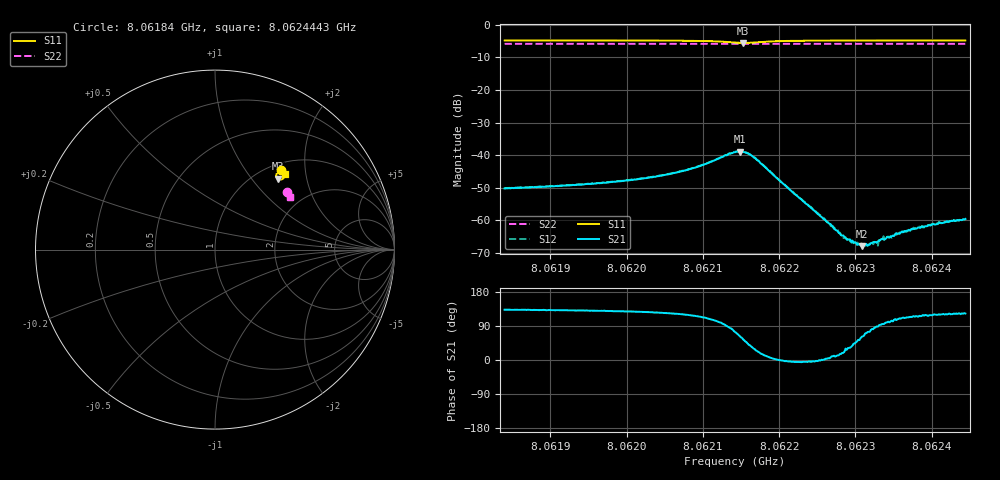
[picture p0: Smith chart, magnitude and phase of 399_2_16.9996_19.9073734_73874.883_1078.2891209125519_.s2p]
#  HZ  S  RI  R  50.00
! Rohde & Schwarz Vector Network Analyzer
! Rohde-Schwarz,ZNB20-2Port,1311601062101988,3.16
! Created: UTC 3/20/2024, 11:09:58 PM
! freq[Hz]  re:S11  im:S11  re:S21  im:S21  re:S12  im:S12  re:S22  im:S22
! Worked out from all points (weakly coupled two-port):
!   401 points, 8.06184 GHz to 8.0624443 GHz, reference 50 ohm
!   highest |S21| = -38.92 dB at 8.0621482 GHz (marker M1); lowest = -68.0 dB at 8.0623083 GHz (marker M2)
!   lowest |S11| = -5.6 dB at 8.0621527 GHz (marker M3), VSWR 3.23, Z = 62.4 + j68.3 ohm
!   |S11| at or under -10 dB: nowhere
!   |S22| runs from -5.9 to -5.8 dB; largest |S21 - S12| = 0.00085
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8.06183999e9  0.3668 0.4443  -0.00209 0.00226  -0.00198 0.0024  0.399 0.3211
8.06194121e9  0.3738 0.4379  -0.00229 0.00267  -0.00217 0.00282  0.4028 0.3161
8.0619956e9  0.378 0.4334  -0.00251 0.00314  -0.00232 0.00328  0.4048 0.3134
8.06204244e9  0.3821 0.4281  -0.00272 0.00391  -0.00251 0.00414  0.4065 0.3108
8.06209229e9  0.3865 0.4167  -0.00286 0.00595  -0.00251 0.00616  0.4084 0.308
8.06214215e9  0.3658 0.3901  0.00307 0.0106  0.0036 0.0107  0.4088 0.3047
8.06214819e9  0.3568 0.3911  0.00506 0.0101  0.00576 0.00993  0.4086 0.3046
8.06215272e9  0.3501 0.3945  0.00653 0.00923  0.00701 0.00893  0.4084 0.3045
8.06216179e9  0.342 0.4063  0.00801 0.00641  0.00835 0.00584  0.4085 0.3048
8.06216934e9  0.3415 0.4169  0.00796 0.00381  0.00829 0.0034  0.4089 0.3049
8.06224337e9  0.3718 0.4346  0.0015 -9.56e-05  0.00151 -0.000163  0.4129 0.3018
8.06228567e9  0.379 0.4319  0.000514 0.000207  0.000509 0.000147  0.4147 0.2994
8.06229776e9  0.3804 0.4309  0.000328 0.000308  0.000359 0.000286  0.4152 0.2989
8.06230833e9  0.3816 0.4302  0.000192 0.00035  0.000256 0.000355  0.4156 0.2983
8.06231438e9  0.3823 0.4299  0.000141 0.000409  0.000148 0.000385  0.4157 0.2981
8.06232646e9  0.3834 0.429  3.2e-05 0.000461  3.69e-05 0.000461  0.4161 0.2974
8.06233251e9  0.384 0.4287  -2.41e-05 0.000491  -9.04e-06 0.000479  0.4165 0.297
8.06233402e9  0.384 0.4285  -3.24e-05 0.000514  -5.22e-06 0.000495  0.4165 0.297
8.06234459e9  0.3851 0.428  -8.95e-05 0.000534  -4.17e-05 0.000546  0.417 0.2965
8.06238387e9  0.3881 0.4255  -0.000344 0.000686  -0.00029 0.000742  0.4184 0.2943
8.06241862e9  0.3907 0.4235  -0.000484 0.00081  -0.000461 0.000817  0.4195 0.2924
8.0624443e9  0.3925 0.422  -0.000564 0.000882  -0.000519 0.000865  0.4204 0.2912
